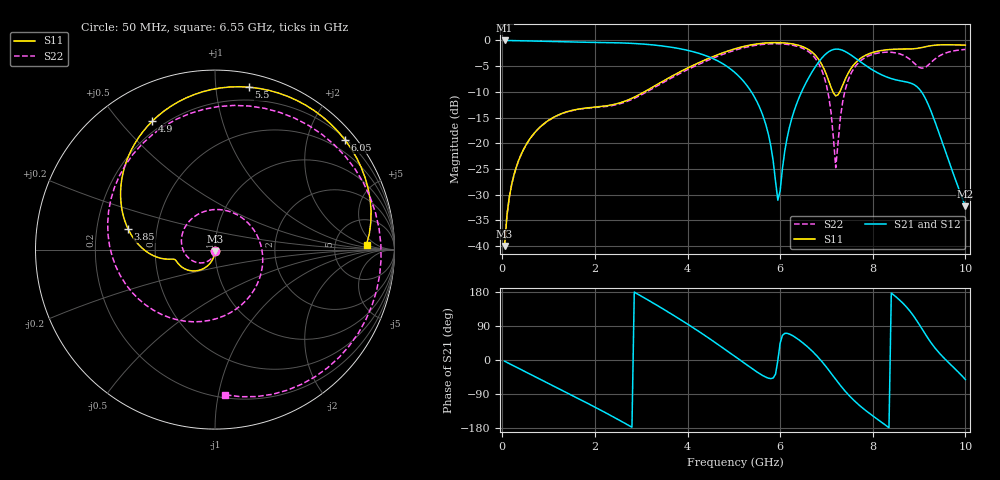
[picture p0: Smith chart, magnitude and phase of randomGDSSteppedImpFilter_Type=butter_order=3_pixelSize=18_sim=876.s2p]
! freq	dB(S11)	phase(S11)	dB(S12)	phase(S12)
!  dB(S21)	phase(S21)	dB(S22)	phase(S22)
!S-par simulation data
#  GHz  S  DB  R 50
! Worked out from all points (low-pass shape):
!   200 points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, 50 MHz to 10 GHz, reference 50 ohm
!   highest |S21| = -0.01 dB at 50 MHz (marker M1); lowest = -32.3 dB at 10 GHz (marker M2)
!   |S21| within 3 dB of the highest: start of sweep to 4.407 GHz; 6.943 GHz to 7.557 GHz (613.7 MHz wide, 8.46 % of centre)
!   lowest |S11| = -40.0 dB at 50 MHz (marker M3), VSWR 1.02, Z = 50 - j1 ohm
!   |S11| at or under -10 dB: start of sweep to 3.067 GHz; 7.14 GHz to 7.286 GHz (146.4 MHz wide, 2.03 % of centre)
!   |S22| runs from -40.0 to -0.6 dB; largest |S21 - S12| = 0
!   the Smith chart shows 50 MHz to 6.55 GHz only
!   S11 on the Smith chart (normalised r, x): 50 MHz: 1.00, -0.02; 3.85 GHz: 0.34, +0.10; 4.9 GHz: 0.16, +0.61; 5.5 GHz: 0.10, +1.22; 6.05 GHz: 0.22, +2.71; 6.55 GHz: 11, +2
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0.05  -39.98 -90.6  -0.01 -3.2  -0.01 -3.2  -40.00 -92.3
0.5  -20.51 -113.3  -0.08 -31.2  -0.08 -31.2  -20.54 -129.9
1.75  -13.21 -158.8  -0.34 -108.5  -0.34 -108.5  -13.26 120.6
2.65  -11.80 -168.0  -0.51 -167.1  -0.51 -167.1  -12.00 12.8
3.4  -8.28 -178.8  -1.02 140.0  -1.02 140.0  -8.56 -82.6
3.85  -6.05 166.5  -1.64 106.4  -1.64 106.4  -6.35 -135.5
4.9  -1.97 115.9  -5.36 19.9  -5.36 19.9  -2.26 100.5
5.05  -1.56 107.0  -6.46 6.8  -6.46 6.8  -1.83 82.5
5.5  -0.68 78.2  -11.93 -31.7  -11.93 -31.7  -0.91 29.8
5.95  -0.43 47.4  -31.05 -1.5  -31.05 -1.5  -0.65 -19.6
6.05  -0.46 40.2  -24.88 65.3  -24.88 65.3  -0.68 -30.3
6.55  -1.47 1.8  -8.37 39.3  -8.37 39.3  -1.83 -86.0
6.7  -2.36 -10.9  -5.97 22.5  -5.97 22.5  -2.87 -105.5
7  -6.66 -31.5  -2.52 -19.0  -2.52 -19.0  -8.72 -154.9
7.2  -10.79 -12.2  -1.69 -51.2  -1.69 -51.2  -24.74 95.8
7.5  -5.89 8.9  -2.66 -95.1  -2.66 -95.1  -7.00 -39.8
8.35  -1.78 -42.8  -7.27 -178.6  -7.27 -178.6  -2.29 -136.6
8.7  -1.67 -60.5  -8.03 143.5  -8.03 143.5  -3.06 171.4
8.95  -1.56 -70.9  -8.96 103.9  -8.96 103.9  -4.88 102.1
9.25  -1.03 -84.8  -13.59 47.0  -13.59 47.0  -4.36 -14.1
9.55  -0.84 -101.2  -21.07 3.6  -21.07 3.6  -2.53 -78.6
10  -0.92 -125.2  -32.26 -51.4  -32.26 -51.4  -1.75 -126.0
